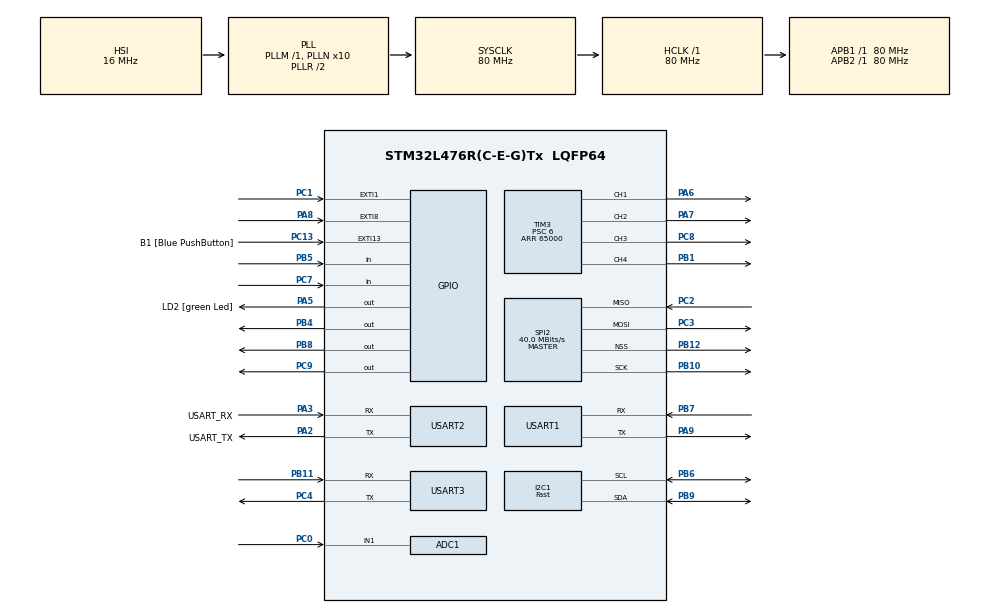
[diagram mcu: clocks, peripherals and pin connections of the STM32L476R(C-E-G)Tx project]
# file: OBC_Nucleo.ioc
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ADC1.Channel-0\#ChannelRegularConversion=ADC_CHANNEL_1
ADC1.NbrOfConversionFlag=1
ADC1.OffsetNumber-0\#ChannelRegularConversion=ADC_OFFSET_NONE
ADC1.Rank-0\#ChannelRegularConversion=1
ADC1.SamplingTime-0\#ChannelRegularConversion=ADC_SAMPLETIME_2CYCLES_5
ADC1.master=1
Dma.Request0=USART1_RX
Dma.Request1=USART3_RX
Dma.USART1_RX.0.Direction=DMA_PERIPH_TO_MEMORY
Dma.USART1_RX.0.Instance=DMA1_Channel5
Dma.USART1_RX.0.MemDataAlignment=DMA_MDATAALIGN_BYTE
Dma.USART1_RX.0.MemInc=DMA_MINC_ENABLE
Dma.USART1_RX.0.Mode=DMA_CIRCULAR
Dma.USART1_RX.0.PeriphDataAlignment=DMA_PDATAALIGN_BYTE
Dma.USART1_RX.0.PeriphInc=DMA_PINC_DISABLE
Dma.USART1_RX.0.Priority=DMA_PRIORITY_LOW
Dma.USART3_RX.1.Direction=DMA_PERIPH_TO_MEMORY
Dma.USART3_RX.1.Instance=DMA1_Channel3
Dma.USART3_RX.1.MemDataAlignment=DMA_MDATAALIGN_BYTE
Dma.USART3_RX.1.MemInc=DMA_MINC_ENABLE
Dma.USART3_RX.1.Mode=DMA_NORMAL
Dma.USART3_RX.1.PeriphDataAlignment=DMA_PDATAALIGN_BYTE
Dma.USART3_RX.1.PeriphInc=DMA_PINC_DISABLE
Dma.USART3_RX.1.Priority=DMA_PRIORITY_HIGH
FREERTOS.INCLUDE_uxTaskGetStackHighWaterMark=1
FREERTOS.INCLUDE_vTaskDelayUntil=1
FREERTOS.Tasks01=defaultTask,0,128,StartDefaultTask,Default,NULL
FREERTOS.configTOTAL_HEAP_SIZE=10000
I2C1.I2C_Speed_Mode=I2C_Fast
I2C1.Speed=400
I2C1.Timing=0x00702991
Mcu.Family=STM32L4
Mcu.Name=STM32L476R(C-E-G)Tx
Mcu.Package=LQFP64
NVIC.DMA1_Channel3_IRQn=true\:5\:0\:false\:false\:true\:true
NVIC.DMA1_Channel5_IRQn=true\:5\:0\:false\:false\:true\:true
NVIC.EXTI9_5_IRQn=true\:5\:0\:false\:false\:true\:true
NVIC.PriorityGroup=NVIC_PRIORITYGROUP_4
NVIC.TIM1_UP_TIM16_IRQn=true\:0\:0\:false\:false\:true\:false
NVIC.TimeBase=TIM1_UP_TIM16_IRQn
NVIC.TimeBaseIP=TIM1
PA13\ (JTMS-SWDIO).GPIO_Label=TMS
PA13\ (JTMS-SWDIO).Signal=SYS_JTMS-SWDIO
PA14\ (JTCK-SWCLK).GPIO_Label=TCK
PA14\ (JTCK-SWCLK).Signal=SYS_JTCK-SWCLK
PA2.GPIO_Label=USART_TX
PA2.Mode=Asynchronous
PA2.Signal=USART2_TX
PA3.GPIO_Label=USART_RX
PA3.GPIO_Mode=GPIO_MODE_AF_PP
PA3.GPIO_PuPd=GPIO_NOPULL
PA3.GPIO_Speed=GPIO_SPEED_FREQ_VERY_HIGH
PA3.Mode=Asynchronous
PA3.Signal=USART2_RX
PA5.GPIO_Label=LD2 [green Led]
PA5.GPIO_ModeDefaultOutputPP=GPIO_MODE_OUTPUT_PP
PA5.GPIO_PuPd=GPIO_NOPULL
PA5.GPIO_Speed=GPIO_SPEED_FREQ_LOW
PA5.Signal=GPIO_Output
PA6.Signal=S_TIM3_CH1
PA7.Signal=S_TIM3_CH2
PA8.Signal=GPXTI8
PA9.Mode=Asynchronous
PA9.Signal=USART1_TX
PB1.Signal=S_TIM3_CH4
PB10.Mode=Full_Duplex_Master
PB10.Signal=SPI2_SCK
PB11.Mode=Asynchronous
PB11.Signal=USART3_RX
PB12.Mode=NSS_Signal_Hard_Output
PB12.Signal=SPI2_NSS
PB3\ (JTDO-TRACESWO).GPIO_Label=SWO
PB3\ (JTDO-TRACESWO).Signal=SYS_JTDO-SWO
PB4\ (NJTRST).Signal=GPIO_Output
PB5.Signal=GPIO_Input
PB6.Mode=I2C
PB6.Signal=I2C1_SCL
PB7.Mode=Asynchronous
PB7.Signal=USART1_RX
PB8.Signal=GPIO_Output
PB9.Mode=I2C
PB9.Signal=I2C1_SDA
PC0.Signal=ADCx_IN1
PC1.Signal=GPXTI1
PC13.GPIO_Label=B1 [Blue PushButton]
PC13.GPIO_ModeDefaultEXTI=GPIO_MODE_IT_FALLING
PC13.GPIO_PuPd=GPIO_NOPULL
PC13.Signal=GPXTI13
PC14-OSC32_IN\ (PC14).Signal=RCC_OSC32_IN
PC15-OSC32_OUT\ (PC15).Signal=RCC_OSC32_OUT
PC2.Mode=Full_Duplex_Master
PC2.Signal=SPI2_MISO
PC3.Mode=Full_Duplex_Master
PC3.Signal=SPI2_MOSI
PC4.Mode=Asynchronous
PC4.Signal=USART3_TX
PC7.Signal=GPIO_Input
PC8.Signal=S_TIM3_CH3
PC9.Signal=GPIO_Output
PH0-OSC_IN\ (PH0).Signal=RCC_OSC_IN
PH1-OSC_OUT\ (PH1).Signal=RCC_OSC_OUT
ProjectManager.HeapSize=0x200
ProjectManager.StackSize=0x400
ProjectManager.TargetToolchain=SW4STM32
RCC.ADCFreq_Value=64000000
RCC.AHBFreq_Value=80000000
RCC.APB1Freq_Value=80000000
RCC.APB1TimFreq_Value=80000000
RCC.APB2Freq_Value=80000000
RCC.APB2TimFreq_Value=80000000
RCC.CortexFreq_Value=80000000
RCC.HCLKFreq_Value=80000000
RCC.HSE_VALUE=8000000
RCC.HSI_VALUE=16000000
RCC.LSE_VALUE=32768
RCC.MSI_VALUE=4000000
RCC.PLLN=10
RCC.PLLSourceVirtual=RCC_PLLSOURCE_HSI
RCC.PREFETCH_ENABLE=1
RCC.SYSCLKFreq_VALUE=80000000
RCC.SYSCLKSource=RCC_SYSCLKSOURCE_PLLCLK
RCC.USBFreq_Value=64000000
RCC.VCOOutputFreq_Value=160000000
SH.ADCx_IN1.0=ADC1_IN1,IN1-Single-Ended
SH.S_TIM3_CH1.0=TIM3_CH1,PWM Generation1 CH1
SH.S_TIM3_CH2.0=TIM3_CH2,PWM Generation2 CH2
SH.S_TIM3_CH3.0=TIM3_CH3,PWM Generation3 CH3
SH.S_TIM3_CH4.0=TIM3_CH4,PWM Generation4 CH4
SPI2.CalculateBaudRate=40.0 MBits/s
SPI2.Direction=SPI_DIRECTION_2LINES
SPI2.Mode=SPI_MODE_MASTER
SPI2.VirtualNSS=VM_NSSHARD
SPI2.VirtualType=VM_MASTER
TIM3.Channel-PWM\ Generation1\ CH1=TIM_CHANNEL_1
TIM3.Channel-PWM\ Generation2\ CH2=TIM_CHANNEL_2
TIM3.Channel-PWM\ Generation3\ CH3=TIM_CHANNEL_3
TIM3.Channel-PWM\ Generation4\ CH4=TIM_CHANNEL_4
TIM3.ClockDivision=TIM_CLOCKDIVISION_DIV1
TIM3.Period=65000
TIM3.Prescaler=6
USART1.VirtualMode-Asynchronous=VM_ASYNC
USART1.WordLength=WORDLENGTH_8B
USART2.VirtualMode-Asynchronous=VM_ASYNC
USART2.WordLength=WORDLENGTH_8B
USART3.VirtualMode-Asynchronous=VM_ASYNC
USART3.WordLength=WORDLENGTH_8B
VP_FREERTOS_VS_ENABLE.Mode=Enabled
VP_SYS_VS_tim1.Mode=TIM1
VP_TIM3_VS_ClockSourceINT.Mode=Internal
VP_TIM6_VS_ClockSourceINT.Mode=Enable_Timer
board=NUCLEO-L476RG

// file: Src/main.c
/**
  ******************************************************************************
  * File Name          : main.c
  * Description        : Main program body
  ******************************************************************************
  * This notice applies to any and all portions of this file
  * that are not between comment pairs USER CODE BEGIN and
  * USER CODE END. Other portions of this file, whether
  * inserted by the user or by software development tools
  * are owned by their respective copyright owners.
  *
  * Copyright (c) 2017 STMicroelectronics International N.V.
  * All rights reserved.
  *
  * Redistribution and use in source and binary forms, with or without
  * modification, are permitted, provided that the following conditions are met:
  *
  * 1. Redistribution of source code must retain the above copyright notice,
  *    this list of conditions and the following disclaimer.
  * 2. Redistributions in binary form must reproduce the above copyright notice,
  *    this list of conditions and the following disclaimer in the documentation
  *    and/or other materials provided with the distribution.
  * 3. Neither the name of STMicroelectronics nor the names of other
  *    contributors to this software may be used to endorse or promote products
  *    derived from this software without specific written permission.
  * 4. This software, including modifications and/or derivative works of this
  *    software, must execute solely and exclusively on microcontroller or
  *    microprocessor devices manufactured by or for STMicroelectronics.
  * 5. Redistribution and use of this software other than as permitted under
  *    this license is void and will automatically terminate your rights under
  *    this license.
  *
  * THIS SOFTWARE IS PROVIDED BY STMICROELECTRONICS AND CONTRIBUTORS "AS IS"
  * AND ANY EXPRESS, IMPLIED OR STATUTORY WARRANTIES, INCLUDING, BUT NOT
  * LIMITED TO, THE IMPLIED WARRANTIES OF MERCHANTABILITY, FITNESS FOR A
  * PARTICULAR PURPOSE AND NON-INFRINGEMENT OF THIRD PARTY INTELLECTUAL PROPERTY
  * RIGHTS ARE DISCLAIMED TO THE FULLEST EXTENT PERMITTED BY LAW. IN NO EVENT
  * SHALL STMICROELECTRONICS OR CONTRIBUTORS BE LIABLE FOR ANY DIRECT, INDIRECT,
  * INCIDENTAL, SPECIAL, EXEMPLARY, OR CONSEQUENTIAL DAMAGES (INCLUDING, BUT NOT
  * LIMITED TO, PROCUREMENT OF SUBSTITUTE GOODS OR SERVICES; LOSS OF USE, DATA,
  * OR PROFITS; OR BUSINESS INTERRUPTION) HOWEVER CAUSED AND ON ANY THEORY OF
  * LIABILITY, WHETHER IN CONTRACT, STRICT LIABILITY, OR TORT (INCLUDING
  * NEGLIGENCE OR OTHERWISE) ARISING IN ANY WAY OUT OF THE USE OF THIS SOFTWARE,
  * EVEN IF ADVISED OF THE POSSIBILITY OF SUCH DAMAGE.
  *
  ******************************************************************************
  */
#include "main.h"
#include "stm32l4xx_hal.h"
#include "cmsis_os.h"

/* USER CODE BEGIN Includes */

#include <string.h>
#include <stdbool.h>

#include "timers.h"

#include "sharedResources.h"

#include "comm.h"
#include "pwm.h"
#include "sensor.h"
#include "controller.h"
#include "control.h"

/* USER CODE END Includes */

ADC_HandleTypeDef hadc1;

I2C_HandleTypeDef hi2c1;

SPI_HandleTypeDef hspi2;

TIM_HandleTypeDef htim3;
TIM_HandleTypeDef htim6;

UART_HandleTypeDef huart1;
UART_HandleTypeDef huart2;
UART_HandleTypeDef huart3;
DMA_HandleTypeDef hdma_usart1_rx;
DMA_HandleTypeDef hdma_usart3_rx;

osThreadId defaultTaskHandle;

/* USER CODE BEGIN PV */
/* Private variables ---------------------------------------------------------*/
osThreadId controlTaskHandle;
osThreadId controllerTaskHandle;
osThreadId commTaskHandle;
osThreadId sensorTaskHandle;
osThreadId pwmTaskHandle;
TimerHandle_t timer;

int32_t numbers[4];
float yprDegree[3];
float angVel[3];
int32_t ang_vel[3];
int32_t ang_vel2[3];
float euler[3];

char Rxbuff[MSG_LEN];
//uint8_t buff2[20];
uint8_t last = 0;
uint8_t OK = false;
uint8_t len = 0;
bool started = false;
bool stopped = false;

char str[20];

TickType_t xTime=0;

/* USER CODE END PV */

void SystemClock_Config(void);
static void MX_GPIO_Init(void);
static void MX_DMA_Init(void);
static void MX_USART1_UART_Init(void);
static void MX_USART3_UART_Init(void);
static void MX_I2C1_Init(void);
static void MX_TIM3_Init(void);
static void MX_USART2_UART_Init(void);
static void MX_ADC1_Init(void);
static void MX_SPI2_Init(void);
static void MX_TIM6_Init(void);
void StartDefaultTask(void const * argument);

void HAL_TIM_MspPostInit(TIM_HandleTypeDef *htim);

/* USER CODE BEGIN PFP */
/* Private function prototypes -----------------------------------------------*/
extern void startSensorTask(void const * argument);
extern void startControlTask(void const * argument);
extern void startCommTask(void const * argument);
extern void startControllerTask(TimerHandle_t t);
void startStartUp(void const * argument);

int ESPInit(void);
void print(const char* str);
/* USER CODE END PFP */

int main(void)
{

  /* MCU Configuration----------------------------------------------------------*/

  /* Reset of all peripherals, Initializes the Flash interface and the Systick. */
  HAL_Init();

  /* Configure the system clock */
  SystemClock_Config();

  /* Initialize all configured peripherals */
  MX_GPIO_Init();
  MX_DMA_Init();
  MX_USART1_UART_Init();
  MX_USART3_UART_Init();
  MX_I2C1_Init();
  MX_TIM3_Init();
  MX_USART2_UART_Init();
  MX_ADC1_Init();
  MX_SPI2_Init();
  MX_TIM6_Init();

  /* USER CODE BEGIN 2 */
    initializeResources();

	HAL_TIM_Base_Start(&htim3);
	HAL_TIM_PWM_Start(&htim3, TIM_CHANNEL_1);
	HAL_TIM_PWM_Start(&htim3, TIM_CHANNEL_2);
	HAL_TIM_PWM_Start(&htim3, TIM_CHANNEL_3);
	HAL_TIM_PWM_Start(&htim3, TIM_CHANNEL_4);

	htim3.Instance->CCR1 =800;
	htim3.Instance->CCR2 =800;
	htim3.Instance->CCR3 =800;
	htim3.Instance->CCR4 =800;
  /* USER CODE END 2 */

  /* Create the thread(s) */
  /* definition and creation of defaultTask */
 /* osThreadDef(defaultTask, StartDefaultTask, osPriorityNormal, 0, 128);
  defaultTaskHandle = osThreadCreate(osThread(defaultTask), NULL);*/

  /* USER CODE BEGIN RTOS_THREADS */
	/* add threads, ... */

	xTaskCreate(startStartUp, "Start", 500, NULL, 5, NULL);
	xTaskCreate(startSensorTask, "Sensor", 500, NULL, 4, &sensorTaskHandle);
	xTaskCreate(startCommTask, "Comm", 500, NULL, 3, &commTaskHandle);
//	xTaskCreate(startControlTask, "Control", 128, NULL, 1, &controlTaskHandle);
	xTaskCreate(startControllerTask, "Controller", 300, NULL, 2, controllerTaskHandle);
	//xTaskCreate(startPwmTask, "PWM", 128, NULL, 1, pwmTaskHandle);

  /* USER CODE END RTOS_THREADS */

  /* Start scheduler */
  osKernelStart();

  /* We should never get here as control is now taken by the scheduler */

  /* Infinite loop */
	while (1) {

  /* USER CODE BEGIN 3 */
		print("ops.. low heap");
		osDelay(1000);
	}
  /* USER CODE END 3 */

}

/** System Clock Configuration
*/
void SystemClock_Config(void)
{

  RCC_OscInitTypeDef RCC_OscInitStruct;
  RCC_ClkInitTypeDef RCC_ClkInitStruct;
  RCC_PeriphCLKInitTypeDef PeriphClkInit;

    /**Initializes the CPU, AHB and APB busses clocks
    */
  RCC_OscInitStruct.OscillatorType = RCC_OSCILLATORTYPE_HSI;
  RCC_OscInitStruct.HSIState = RCC_HSI_ON;
  RCC_OscInitStruct.HSICalibrationValue = 16;
  RCC_OscInitStruct.PLL.PLLState = RCC_PLL_ON;
  RCC_OscInitStruct.PLL.PLLSource = RCC_PLLSOURCE_HSI;
  RCC_OscInitStruct.PLL.PLLM = 1;
  RCC_OscInitStruct.PLL.PLLN = 10;
  RCC_OscInitStruct.PLL.PLLP = RCC_PLLP_DIV7;
  RCC_OscInitStruct.PLL.PLLQ = RCC_PLLQ_DIV2;
  RCC_OscInitStruct.PLL.PLLR = RCC_PLLR_DIV2;
  if (HAL_RCC_OscConfig(&RCC_OscInitStruct) != HAL_OK)
  {
    _Error_Handler(__FILE__, __LINE__);
  }

    /**Initializes the CPU, AHB and APB busses clocks
    */
  RCC_ClkInitStruct.ClockType = RCC_CLOCKTYPE_HCLK|RCC_CLOCKTYPE_SYSCLK
                              |RCC_CLOCKTYPE_PCLK1|RCC_CLOCKTYPE_PCLK2;
  RCC_ClkInitStruct.SYSCLKSource = RCC_SYSCLKSOURCE_PLLCLK;
  RCC_ClkInitStruct.AHBCLKDivider = RCC_SYSCLK_DIV1;
  RCC_ClkInitStruct.APB1CLKDivider = RCC_HCLK_DIV1;
  RCC_ClkInitStruct.APB2CLKDivider = RCC_HCLK_DIV1;

  if (HAL_RCC_ClockConfig(&RCC_ClkInitStruct, FLASH_LATENCY_4) != HAL_OK)
  {
    _Error_Handler(__FILE__, __LINE__);
  }

  PeriphClkInit.PeriphClockSelection = RCC_PERIPHCLK_USART1|RCC_PERIPHCLK_USART2
                              |RCC_PERIPHCLK_USART3|RCC_PERIPHCLK_I2C1
                              |RCC_PERIPHCLK_ADC;
  PeriphClkInit.Usart1ClockSelection = RCC_USART1CLKSOURCE_PCLK2;
  PeriphClkInit.Usart2ClockSelection = RCC_USART2CLKSOURCE_PCLK1;
  PeriphClkInit.Usart3ClockSelection = RCC_USART3CLKSOURCE_PCLK1;
  PeriphClkInit.I2c1ClockSelection = RCC_I2C1CLKSOURCE_PCLK1;
  PeriphClkInit.AdcClockSelection = RCC_ADCCLKSOURCE_PLLSAI1;
  PeriphClkInit.PLLSAI1.PLLSAI1Source = RCC_PLLSOURCE_HSI;
  PeriphClkInit.PLLSAI1.PLLSAI1M = 1;
  PeriphClkInit.PLLSAI1.PLLSAI1N = 8;
  PeriphClkInit.PLLSAI1.PLLSAI1P = RCC_PLLP_DIV7;
  PeriphClkInit.PLLSAI1.PLLSAI1Q = RCC_PLLQ_DIV2;
  PeriphClkInit.PLLSAI1.PLLSAI1R = RCC_PLLR_DIV2;
  PeriphClkInit.PLLSAI1.PLLSAI1ClockOut = RCC_PLLSAI1_ADC1CLK;
  if (HAL_RCCEx_PeriphCLKConfig(&PeriphClkInit) != HAL_OK)
  {
    _Error_Handler(__FILE__, __LINE__);
  }

    /**Configure the main internal regulator output voltage
    */
  if (HAL_PWREx_ControlVoltageScaling(PWR_REGULATOR_VOLTAGE_SCALE1) != HAL_OK)
  {
    _Error_Handler(__FILE__, __LINE__);
  }

    /**Configure the Systick interrupt time
    */
  HAL_SYSTICK_Config(HAL_RCC_GetHCLKFreq()/1000);

    /**Configure the Systick
    */
  HAL_SYSTICK_CLKSourceConfig(SYSTICK_CLKSOURCE_HCLK);

  /* SysTick_IRQn interrupt configuration */
  HAL_NVIC_SetPriority(SysTick_IRQn, 15, 0);
}

/* ADC1 init function */
static void MX_ADC1_Init(void)
{

  ADC_MultiModeTypeDef multimode;
  ADC_ChannelConfTypeDef sConfig;

    /**Common config
    */
  hadc1.Instance = ADC1;
  hadc1.Init.ClockPrescaler = ADC_CLOCK_ASYNC_DIV1;
  hadc1.Init.Resolution = ADC_RESOLUTION_12B;
  hadc1.Init.DataAlign = ADC_DATAALIGN_RIGHT;
  hadc1.Init.ScanConvMode = ADC_SCAN_DISABLE;
  hadc1.Init.EOCSelection = ADC_EOC_SINGLE_CONV;
  hadc1.Init.LowPowerAutoWait = DISABLE;
  hadc1.Init.ContinuousConvMode = DISABLE;
  hadc1.Init.NbrOfConversion = 1;
  hadc1.Init.DiscontinuousConvMode = DISABLE;
  hadc1.Init.NbrOfDiscConversion = 1;
  hadc1.Init.ExternalTrigConv = ADC_SOFTWARE_START;
  hadc1.Init.ExternalTrigConvEdge = ADC_EXTERNALTRIGCONVEDGE_NONE;
  hadc1.Init.DMAContinuousRequests = DISABLE;
  hadc1.Init.Overrun = ADC_OVR_DATA_PRESERVED;
  hadc1.Init.OversamplingMode = DISABLE;
  if (HAL_ADC_Init(&hadc1) != HAL_OK)
  {
    _Error_Handler(__FILE__, __LINE__);
  }

    /**Configure the ADC multi-mode
    */
  multimode.Mode = ADC_MODE_INDEPENDENT;
  if (HAL_ADCEx_MultiModeConfigChannel(&hadc1, &multimode) != HAL_OK)
  {
    _Error_Handler(__FILE__, __LINE__);
  }

    /**Configure Regular Channel
    */
  sConfig.Channel = ADC_CHANNEL_1;
  sConfig.Rank = 1;
  sConfig.SamplingTime = ADC_SAMPLETIME_2CYCLES_5;
  sConfig.SingleDiff = ADC_SINGLE_ENDED;
  sConfig.OffsetNumber = ADC_OFFSET_NONE;
  sConfig.Offset = 0;
  if (HAL_ADC_ConfigChannel(&hadc1, &sConfig) != HAL_OK)
  {
    _Error_Handler(__FILE__, __LINE__);
  }

}

/* I2C1 init function */
static void MX_I2C1_Init(void)
{

  hi2c1.Instance = I2C1;
  hi2c1.Init.Timing = 0x00702991;
  hi2c1.Init.OwnAddress1 = 0;
  hi2c1.Init.AddressingMode = I2C_ADDRESSINGMODE_7BIT;
  hi2c1.Init.DualAddressMode = I2C_DUALADDRESS_DISABLE;
  hi2c1.Init.OwnAddress2 = 0;
  hi2c1.Init.OwnAddress2Masks = I2C_OA2_NOMASK;
  hi2c1.Init.GeneralCallMode = I2C_GENERALCALL_DISABLE;
  hi2c1.Init.NoStretchMode = I2C_NOSTRETCH_DISABLE;
  if (HAL_I2C_Init(&hi2c1) != HAL_OK)
  {
    _Error_Handler(__FILE__, __LINE__);
  }

    /**Configure Analogue filter
    */
  if (HAL_I2CEx_ConfigAnalogFilter(&hi2c1, I2C_ANALOGFILTER_ENABLE) != HAL_OK)
  {
    _Error_Handler(__FILE__, __LINE__);
  }

    /**Configure Digital filter
    */
  if (HAL_I2CEx_ConfigDigitalFilter(&hi2c1, 0) != HAL_OK)
  {
    _Error_Handler(__FILE__, __LINE__);
  }

}

/* SPI2 init function */
static void MX_SPI2_Init(void)
{

  hspi2.Instance = SPI2;
  hspi2.Init.Mode = SPI_MODE_MASTER;
  hspi2.Init.Direction = SPI_DIRECTION_2LINES;
  hspi2.Init.DataSize = SPI_DATASIZE_4BIT;
  hspi2.Init.CLKPolarity = SPI_POLARITY_LOW;
  hspi2.Init.CLKPhase = SPI_PHASE_1EDGE;
  hspi2.Init.NSS = SPI_NSS_HARD_OUTPUT;
  hspi2.Init.BaudRatePrescaler = SPI_BAUDRATEPRESCALER_2;
  hspi2.Init.FirstBit = SPI_FIRSTBIT_MSB;
  hspi2.Init.TIMode = SPI_TIMODE_DISABLE;
  hspi2.Init.CRCCalculation = SPI_CRCCALCULATION_DISABLE;
  hspi2.Init.CRCPolynomial = 7;
  hspi2.Init.CRCLength = SPI_CRC_LENGTH_DATASIZE;
  hspi2.Init.NSSPMode = SPI_NSS_PULSE_ENABLE;
  if (HAL_SPI_Init(&hspi2) != HAL_OK)
  {
    _Error_Handler(__FILE__, __LINE__);
  }

}

/* TIM3 init function */
static void MX_TIM3_Init(void)
{

  TIM_ClockConfigTypeDef sClockSourceConfig;
  TIM_MasterConfigTypeDef sMasterConfig;
  TIM_OC_InitTypeDef sConfigOC;

  htim3.Instance = TIM3;
  htim3.Init.Prescaler = 6;
  htim3.Init.CounterMode = TIM_COUNTERMODE_UP;
  htim3.Init.Period = 65000;
  htim3.Init.ClockDivision = TIM_CLOCKDIVISION_DIV1;
  if (HAL_TIM_Base_Init(&htim3) != HAL_OK)
  {
    _Error_Handler(__FILE__, __LINE__);
  }

  sClockSourceConfig.ClockSource = TIM_CLOCKSOURCE_INTERNAL;
  if (HAL_TIM_ConfigClockSource(&htim3, &sClockSourceConfig) != HAL_OK)
  {
    _Error_Handler(__FILE__, __LINE__);
  }

  if (HAL_TIM_PWM_Init(&htim3) != HAL_OK)
  {
    _Error_Handler(__FILE__, __LINE__);
  }

  sMasterConfig.MasterOutputTrigger = TIM_TRGO_RESET;
  sMasterConfig.MasterSlaveMode = TIM_MASTERSLAVEMODE_DISABLE;
  if (HAL_TIMEx_MasterConfigSynchronization(&htim3, &sMasterConfig) != HAL_OK)
  {
    _Error_Handler(__FILE__, __LINE__);
  }

  sConfigOC.OCMode = TIM_OCMODE_PWM1;
  sConfigOC.Pulse = 0;
  sConfigOC.OCPolarity = TIM_OCPOLARITY_HIGH;
  sConfigOC.OCFastMode = TIM_OCFAST_DISABLE;
  if (HAL_TIM_PWM_ConfigChannel(&htim3, &sConfigOC, TIM_CHANNEL_1) != HAL_OK)
  {
    _Error_Handler(__FILE__, __LINE__);
  }

  if (HAL_TIM_PWM_ConfigChannel(&htim3, &sConfigOC, TIM_CHANNEL_2) != HAL_OK)
  {
    _Error_Handler(__FILE__, __LINE__);
  }

  if (HAL_TIM_PWM_ConfigChannel(&htim3, &sConfigOC, TIM_CHANNEL_3) != HAL_OK)
  {
    _Error_Handler(__FILE__, __LINE__);
  }

  if (HAL_TIM_PWM_ConfigChannel(&htim3, &sConfigOC, TIM_CHANNEL_4) != HAL_OK)
  {
    _Error_Handler(__FILE__, __LINE__);
  }

  HAL_TIM_MspPostInit(&htim3);

}

/* TIM6 init function */
static void MX_TIM6_Init(void)
{

  TIM_MasterConfigTypeDef sMasterConfig;

  htim6.Instance = TIM6;
  htim6.Init.Prescaler = 0;
  htim6.Init.CounterMode = TIM_COUNTERMODE_UP;
  htim6.Init.Period = 0;
  if (HAL_TIM_Base_Init(&htim6) != HAL_OK)
  {
    _Error_Handler(__FILE__, __LINE__);
  }

  sMasterConfig.MasterOutputTrigger = TIM_TRGO_RESET;
  sMasterConfig.MasterSlaveMode = TIM_MASTERSLAVEMODE_DISABLE;
  if (HAL_TIMEx_MasterConfigSynchronization(&htim6, &sMasterConfig) != HAL_OK)
  {
    _Error_Handler(__FILE__, __LINE__);
  }

}

/* USART1 init function */
static void MX_USART1_UART_Init(void)
{

  huart1.Instance = USART1;
  huart1.Init.BaudRate = 115200;
  huart1.Init.WordLength = UART_WORDLENGTH_8B;
  huart1.Init.StopBits = UART_STOPBITS_1;
  huart1.Init.Parity = UART_PARITY_NONE;
  huart1.Init.Mode = UART_MODE_TX_RX;
  huart1.Init.HwFlowCtl = UART_HWCONTROL_NONE;
  huart1.Init.OverSampling = UART_OVERSAMPLING_16;
  huart1.Init.OneBitSampling = UART_ONE_BIT_SAMPLE_DISABLE;
  huart1.AdvancedInit.AdvFeatureInit = UART_ADVFEATURE_NO_INIT;
  if (HAL_UART_Init(&huart1) != HAL_OK)
  {
    _Error_Handler(__FILE__, __LINE__);
  }

}

/* USART2 init function */
static void MX_USART2_UART_Init(void)
{

  huart2.Instance = USART2;
  huart2.Init.BaudRate = 115200;
  huart2.Init.WordLength = UART_WORDLENGTH_8B;
  huart2.Init.StopBits = UART_STOPBITS_1;
  huart2.Init.Parity = UART_PARITY_NONE;
  huart2.Init.Mode = UART_MODE_TX_RX;
  huart2.Init.HwFlowCtl = UART_HWCONTROL_NONE;
  huart2.Init.OverSampling = UART_OVERSAMPLING_16;
  huart2.Init.OneBitSampling = UART_ONE_BIT_SAMPLE_DISABLE;
  huart2.AdvancedInit.AdvFeatureInit = UART_ADVFEATURE_NO_INIT;
  if (HAL_UART_Init(&huart2) != HAL_OK)
  {
    _Error_Handler(__FILE__, __LINE__);
  }

}

/* USART3 init function */
static void MX_USART3_UART_Init(void)
{

  huart3.Instance = USART3;
  huart3.Init.BaudRate = 115200;
  huart3.Init.WordLength = UART_WORDLENGTH_8B;
  huart3.Init.StopBits = UART_STOPBITS_1;
  huart3.Init.Parity = UART_PARITY_NONE;
  huart3.Init.Mode = UART_MODE_TX_RX;
  huart3.Init.HwFlowCtl = UART_HWCONTROL_NONE;
  huart3.Init.OverSampling = UART_OVERSAMPLING_16;
  huart3.Init.OneBitSampling = UART_ONE_BIT_SAMPLE_DISABLE;
  huart3.AdvancedInit.AdvFeatureInit = UART_ADVFEATURE_NO_INIT;
  if (HAL_UART_Init(&huart3) != HAL_OK)
  {
    _Error_Handler(__FILE__, __LINE__);
  }

}

static void MX_DMA_Init(void)
{
  /* DMA controller clock enable */
  __HAL_RCC_DMA1_CLK_ENABLE();

  /* DMA interrupt init */
  /* DMA1_Channel3_IRQn interrupt configuration */
  HAL_NVIC_SetPriority(DMA1_Channel3_IRQn, 5, 0);
  HAL_NVIC_EnableIRQ(DMA1_Channel3_IRQn);
  /* DMA1_Channel5_IRQn interrupt configuration */
  HAL_NVIC_SetPriority(DMA1_Channel5_IRQn, 5, 0);
  HAL_NVIC_EnableIRQ(DMA1_Channel5_IRQn);

}

/** Configure pins as
        * Analog
        * Input
        * Output
        * EVENT_OUT
        * EXTI
*/
static void MX_GPIO_Init(void)
{

  GPIO_InitTypeDef GPIO_InitStruct;

  /* GPIO Ports Clock Enable */
  __HAL_RCC_GPIOC_CLK_ENABLE();
  __HAL_RCC_GPIOH_CLK_ENABLE();
  __HAL_RCC_GPIOA_CLK_ENABLE();
  __HAL_RCC_GPIOB_CLK_ENABLE();

  /*Configure GPIO pin Output Level */
  HAL_GPIO_WritePin(LD2_GPIO_Port, LD2_Pin, GPIO_PIN_RESET);

  /*Configure GPIO pin Output Level */
  HAL_GPIO_WritePin(GPIOC, GPIO_PIN_9, GPIO_PIN_RESET);

  /*Configure GPIO pin Output Level */
  HAL_GPIO_WritePin(GPIOB, GPIO_PIN_4|GPIO_PIN_8, GPIO_PIN_RESET);

  /*Configure GPIO pin : B1_Pin */
  GPIO_InitStruct.Pin = B1_Pin;
  GPIO_InitStruct.Mode = GPIO_MODE_IT_FALLING;
  GPIO_InitStruct.Pull = GPIO_NOPULL;
  HAL_GPIO_Init(B1_GPIO_Port, &GPIO_InitStruct);

  /*Configure GPIO pin : PC1 */
  GPIO_InitStruct.Pin = GPIO_PIN_1;
  GPIO_InitStruct.Mode = GPIO_MODE_IT_RISING;
  GPIO_InitStruct.Pull = GPIO_NOPULL;
  HAL_GPIO_Init(GPIOC, &GPIO_InitStruct);

  /*Configure GPIO pin : LD2_Pin */
  GPIO_InitStruct.Pin = LD2_Pin;
  GPIO_InitStruct.Mode = GPIO_MODE_OUTPUT_PP;
  GPIO_InitStruct.Pull = GPIO_NOPULL;
  GPIO_InitStruct.Speed = GPIO_SPEED_FREQ_LOW;
  HAL_GPIO_Init(LD2_GPIO_Port, &GPIO_InitStruct);

  /*Configure GPIO pin : PC7 */
  GPIO_InitStruct.Pin = GPIO_PIN_7;
  GPIO_InitStruct.Mode = GPIO_MODE_INPUT;
  GPIO_InitStruct.Pull = GPIO_NOPULL;
  HAL_GPIO_Init(GPIOC, &GPIO_InitStruct);

  /*Configure GPIO pin : PC9 */
  GPIO_InitStruct.Pin = GPIO_PIN_9;
  GPIO_InitStruct.Mode = GPIO_MODE_OUTPUT_PP;
  GPIO_InitStruct.Pull = GPIO_NOPULL;
  GPIO_InitStruct.Speed = GPIO_SPEED_FREQ_LOW;
  HAL_GPIO_Init(GPIOC, &GPIO_InitStruct);

  /*Configure GPIO pin : PA8 */
  GPIO_InitStruct.Pin = GPIO_PIN_8;
  GPIO_InitStruct.Mode = GPIO_MODE_IT_RISING;
  GPIO_InitStruct.Pull = GPIO_NOPULL;
  HAL_GPIO_Init(GPIOA, &GPIO_InitStruct);

  /*Configure GPIO pins : PB4 PB8 */
  GPIO_InitStruct.Pin = GPIO_PIN_4|GPIO_PIN_8;
  GPIO_InitStruct.Mode = GPIO_MODE_OUTPUT_PP;
  GPIO_InitStruct.Pull = GPIO_NOPULL;
  GPIO_InitStruct.Speed = GPIO_SPEED_FREQ_LOW;
  HAL_GPIO_Init(GPIOB, &GPIO_InitStruct);

  /*Configure GPIO pin : PB5 */
  GPIO_InitStruct.Pin = GPIO_PIN_5;
  GPIO_InitStruct.Mode = GPIO_MODE_INPUT;
  GPIO_InitStruct.Pull = GPIO_NOPULL;
  HAL_GPIO_Init(GPIOB, &GPIO_InitStruct);

  /* EXTI interrupt init*/
  HAL_NVIC_SetPriority(EXTI9_5_IRQn, 5, 0);
  HAL_NVIC_EnableIRQ(EXTI9_5_IRQn);

}

/* USER CODE BEGIN 4 */

int ESPInit(void){
	  uint8_t msg[100]; //receive buffer

	  uint8_t *init0 = "AT+RST\r\n\n";
	  uint8_t *init1 = "AT+CIPMUX=1\r\n";
	  uint8_t *init1Answ = "AT+CIPMUX=1\r\r\n\r\nOK"; //expected response
	  uint8_t *init2 = "AT+CIPSERVER=1,8080\r\n";
	  uint8_t *init2Answ = "AT+CIPSERVER=1,8080\r\r\n\r\nOK"; //expected response
	  uint8_t *init22Answ = "AT+CIPSERVER=1,8080\r\r\nno change\r\n\r\nOK"; //expected response2
	  uint8_t *init3 = "AT+CIPSTO=300\r\n";
	  uint8_t *init3Answ = "AT+CIPSTO=300\r\r\n\r\nOK"; //expected response
	  int initError = false;

	  HAL_UART_Transmit(&huart3, init1, strlen(init1), 300);

	  if(HAL_UART_Receive(&huart3, msg, strlen(init1Answ) + 2, 300) == HAL_OK){

		  if(memcmp(msg, init1Answ, strlen(init1Answ)) != 0){
			  initError = true;
		  }
	  }
	  else{
		  initError = true;
	  }

	  HAL_UART_Transmit(&huart3, init2, strlen(init2), 300);

	  HAL_UART_Receive(&huart3, msg, 100, 300);

		  if((memcmp(msg, init2Answ, strlen(init2Answ)) != 0) && (memcmp(msg, init22Answ, strlen(init22Answ)) != 0)){
			  initError = true;
		  }

	  HAL_UART_Transmit(&huart3, init3, strlen(init3), 300);

	  if(HAL_UART_Receive(&huart3, msg, strlen(init3Answ) + 2, 300) == HAL_OK){

		  if(memcmp(msg, init3Answ, strlen(init3Answ)) != 0){
			  initError = true;
		  }
	  }
	  else{
		  initError = true;
	  }

	  if(initError == false){
		  return 0; //nem volt hiba
	  }
	  else{
		  return -1;
	  }
}

void print(const char* str){
	HAL_UART_Transmit(&huart2,(uint8_t*)str, (uint16_t)strlen(str), (uint32_t)500);
}

void HAL_UART_RxCpltCallback(UART_HandleTypeDef *UartHandle){
	BaseType_t commNotify = pdFALSE;
	vTaskNotifyGiveFromISR(commTaskHandle, &commNotify);
	portYIELD_FROM_ISR(commNotify);

}

void HAL_GPIO_EXTI_Callback(uint16_t  GPIO_Pin){
	BaseType_t xHigherPriorityTaskWoken = pdFALSE;

	vTaskNotifyGiveFromISR(sensorTaskHandle, &xHigherPriorityTaskWoken);
	portYIELD_FROM_ISR(xHigherPriorityTaskWoken);

}

void startStartUp(void const * argument){

	htim3.Instance->CCR1 =0;
	htim3.Instance->CCR2 =0;
	htim3.Instance->CCR3 =0;
	htim3.Instance->CCR4 =0;

	osDelay(3000);
	htim3.Instance->CCR1 =26000; //5900
	htim3.Instance->CCR2 =26000;
	htim3.Instance->CCR3 =26000;
	htim3.Instance->CCR4 =26000;

	osDelay(2000);
	htim3.Instance->CCR1 =13000;
	htim3.Instance->CCR2 =13000;
	htim3.Instance->CCR3 =13000;
	htim3.Instance->CCR4 =13000; //2400

	osDelay(500);

	vTaskDelete(NULL);
}

/* USER CODE END 4 */

/* StartDefaultTask function */
void StartDefaultTask(void const * argument)
{

  /* USER CODE BEGIN 5 */
	/* Infinite loop */
	for (;;) {
		HAL_GPIO_TogglePin(LD2_GPIO_Port, LD2_Pin);
		osDelay(100);
	}
  /* USER CODE END 5 */
}

void HAL_TIM_PeriodElapsedCallback(TIM_HandleTypeDef *htim)
{
  if (htim->Instance == TIM1) {
    HAL_IncTick();
  }
}

void _Error_Handler(char * file, int line)
{
  while(1)
  {
  }
}

/************************ (C) COPYRIGHT STMicroelectronics *****END OF FILE****/
